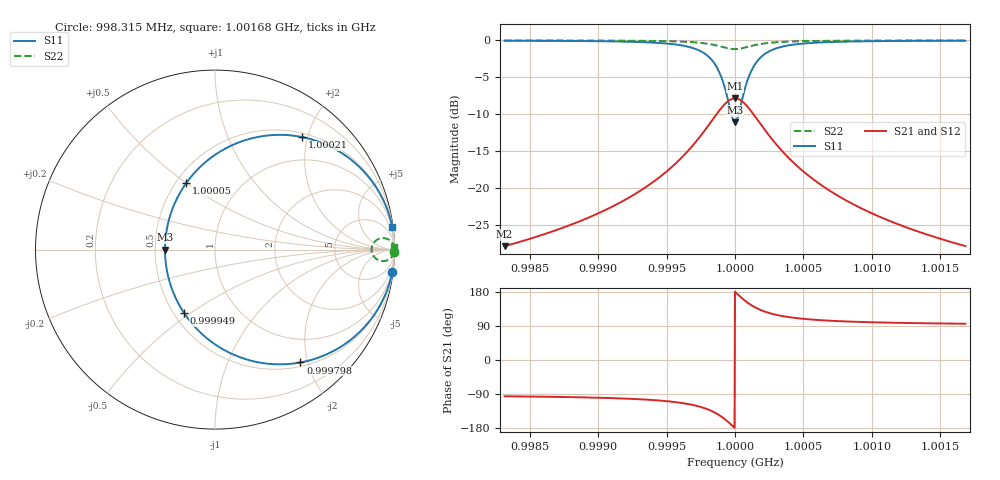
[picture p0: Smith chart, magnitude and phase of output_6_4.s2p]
! File generated for n1 = 6, n2 = 4
! b1 = 2.154435
! b2 = 0.215443
! Q0 = 10000.000000
! f0 = 1000000000.000000
! n = 1001
! rel_span = 10.000000
# Hz S RI R 50
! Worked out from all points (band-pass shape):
!   1001 points, 998.315 MHz to 1.00168 GHz, reference 50 ohm
!   highest |S21| = -7.87 dB at 1 GHz (marker M1); lowest = -27.9 dB at 998.315 MHz (marker M2)
!   |S21| within 3 dB of the highest: 999.8319 MHz to 1.000168 GHz (336.2 kHz wide, 0.0336 % of centre)
!   lowest |S11| = -11.1 dB at 1 GHz (marker M3), VSWR 1.77, Z = 28.2 + j0 ohm
!   |S11| at or under -10 dB: 999.9735 MHz to 1.000027 GHz (53.09 kHz wide, 0.00531 % of centre)
!   |S22| runs from -1.2 to 0.0 dB; largest |S21 - S12| = 0
!   S11 on the Smith chart (normalised r, x): 998.315 MHz: 1, -16; 999.798 MHz: 0.56, -1.88; 999.949 MHz: 0.56, -0.47; 1.00005 GHz: 0.56, +0.50; 1.00021 GHz: 0.56, +1.91; 1.00168 GHz: 1, +16
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9.983151e8  0.9874 -0.1265  -0.004 -0.04  -0.004 -0.04  0.9987 -0.0126
9.988778e8  0.9718 -0.1877  -0.00891 -0.0593  -0.00891 -0.0593  0.9972 -0.0188
9.994406e8  0.8937 -0.353  -0.0336 -0.1116  -0.0336 -0.1116  0.9894 -0.0353
9.996563e8  0.7523 -0.5053  -0.0783 -0.1598  -0.0783 -0.1598  0.9752 -0.0505
9.997338e8  0.6344 -0.5778  -0.1156 -0.1827  -0.1156 -0.1827  0.9634 -0.0578
9.997978e8  0.476 -0.6288  -0.1657 -0.1989  -0.1657 -0.1989  0.9476 -0.0629
9.998821e8  0.1419 -0.6007  -0.2714 -0.19  -0.2714 -0.19  0.9142 -0.0601
9.999158e8  -0.0229 -0.5115  -0.3235 -0.1617  -0.3235 -0.1617  0.8977 -0.0511
9.999495e8  -0.1731 -0.3519  -0.371 -0.1113  -0.371 -0.1113  0.8827 -0.0352
9.999798e8  -0.2605 -0.1513  -0.3986 -0.0478  -0.3986 -0.0478  0.874 -0.0151
1e9  -0.2786 0  -0.4043 0  -0.4043 0  0.8721 0
1.000027e9  -0.2467 0.1995  -0.3942 0.0631  -0.3942 0.0631  0.8753 0.0199
1.000054e9  -0.1599 0.3712  -0.3668 0.1174  -0.3668 0.1174  0.884 0.0371
1.000084e9  -0.0229 0.5114  -0.3235 0.1617  -0.3235 0.1617  0.8977 0.0511
1.000118e9  0.1418 0.6007  -0.2714 0.19  -0.2714 0.19  0.9142 0.0601
1.000155e9  0.3074 0.6371  -0.219 0.2015  -0.219 0.2015  0.9307 0.0637
1.000206e9  0.4861 0.6269  -0.1625 0.1982  -0.1625 0.1982  0.9486 0.0627
1.00027e9  0.6408 0.5747  -0.1136 0.1817  -0.1136 0.1817  0.9641 0.0575
1.000347e9  0.7561 0.5024  -0.0771 0.1589  -0.0771 0.1589  0.9756 0.0502
1.000563e9  0.8948 0.3514  -0.0333 0.1111  -0.0333 0.1111  0.9895 0.0351
1.001126e9  0.9719 0.1873  -0.00887 0.0592  -0.00887 0.0592  0.9972 0.0187
1.001685e9  0.9873 0.1267  -0.00401 0.0401  -0.00401 0.0401  0.9987 0.0127
